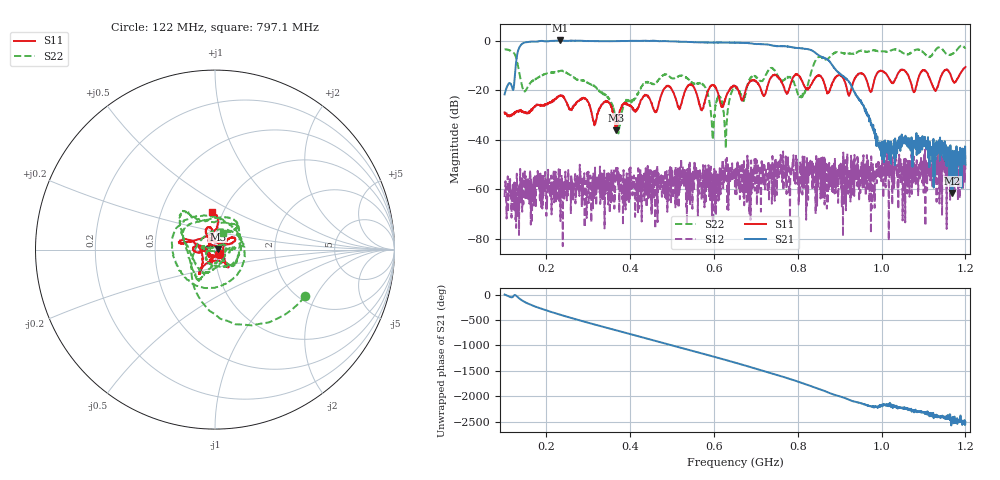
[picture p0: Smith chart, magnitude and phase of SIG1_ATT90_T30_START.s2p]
# Hz S RI R 50
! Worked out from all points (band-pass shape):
!   1601 points, 100 MHz to 1.2 GHz, reference 50 ohm
!   highest |S21| = 0.06 dB at 232.7 MHz (marker M1); lowest = -61.5 dB at 1.169 GHz (marker M2)
!   |S21| within 3 dB of the highest: 134.6 MHz to 794.1 MHz (659.5 MHz wide, 142 % of centre); 794.7621 MHz to 796.8852 MHz (2.123 MHz wide, 0.267 % of centre) (the widest 2 of 3)
!   lowest |S11| = -36.2 dB at 366.1 MHz (marker M3), VSWR 1.03, Z = 51.5 + j0.355 ohm
!   |S11| at or under -10 dB: start of sweep to end of sweep
!   |S22| runs from -43.5 to -2.1 dB; largest |S21 - S12| = 1
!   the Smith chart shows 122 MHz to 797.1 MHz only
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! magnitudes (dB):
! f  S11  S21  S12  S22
! 100 MHz  -29.0  -21.7  -63.1  -3.6
! 147.4 MHz  -28.9  -0.8  -55.6  -20.5
! 232.7 MHz  -22.1  0.1  -57.6  -12.2
! 283.6 MHz  -23.8  -0.1  -56.1  -16.0
! 346.8 MHz  -24.7  -0.2  -63.2  -23.1
! 366.1 MHz  -36.2  -0.2  -51.4  -31.2
! 385.3 MHz  -25.5  -0.2  -64.4  -25.8
! 467.1 MHz  -26.2  -0.2  -53.6  -15.9
! 544.1 MHz  -17.7  -0.6  -57.0  -16.6
! 571.6 MHz  -27.8  -0.7  -59.2  -17.6
! 597.1 MHz  -17.9  -0.8  -73.6  -40.0
! 612.2 MHz  -23.1  -0.8  -64.1  -22.5
! 629.4 MHz  -22.4  -0.8  -52.0  -36.0
! 650 MHz  -18.4  -0.9  -61.8  -19.1
! 737.3 MHz  -14.7  -1.9  -55.9  -11.1
! 808.1 MHz  -15.7  -3.1  -57.9  -23.0
! 833.6 MHz  -17.3  -4.0  -48.7  -11.7
! 921.6 MHz  -22.1  -16.4  -60.1  -5.2
! 1.017 GHz  -15.1  -44.5  -80.7  -4.3
! 1.142 GHz  -14.6  -46.2  -61.5  -2.9
! 1.169 GHz  -15.8  -61.5  -54.8  -5.3
! 1.2 GHz  -10.7  -50.1  -52.3  -3.2
